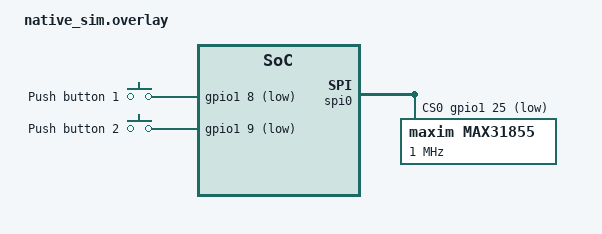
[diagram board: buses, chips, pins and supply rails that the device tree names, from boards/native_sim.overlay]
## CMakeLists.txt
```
# SPDX-License-Identifier: Apache-2.0

cmake_minimum_required(VERSION 3.20.0)
find_package(Zephyr REQUIRED HINTS $ENV{ZEPHYR_BASE})
project(meatometer)

target_include_directories(app PRIVATE ${CMAKE_CURRENT_SOURCE_DIR}/include)

target_sources(app PRIVATE
    src/main.c
    src/app/event_handler.c
    src/app/measure_temp.c
    src/app/state_machine.c
    src/comms/ble_prov.c
    src/comms/wifi_mgr.c
    src/comms/mqtt_mgr.c
    src/hal/hw_init.c
    src/hal/button.c
    src/hal/led.c
    src/hal/sensor.c
)
```

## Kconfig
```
menu "Meatometer application configuration"

config APP_WIFI_SSID
    string "Wi-Fi SSID to connect to"
    default "YourWiFiSSID"

config APP_WIFI_PASSWORD
    string "Wi-Fi password for the specified SSID"
    default "YourWiFiPassword"

config APP_MQTT_BROKER_ADDR
	string "MQTT broker IP address"

config APP_MQTT_USERNAME
	string "MQTT username for authentication at broker"

config APP_MQTT_PASSWORD
	string "MQTT password for authentication at broker"

endmenu

source "Kconfig.zephyr"
```

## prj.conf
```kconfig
CONFIG_SENSOR=y
CONFIG_STDOUT_CONSOLE=y
CONFIG_CBPRINTF_FP_SUPPORT=y

# Logging
CONFIG_LOG=y
CONFIG_SENSOR_LOG_LEVEL_DBG=y

# State Machine Framework
CONFIG_SMF=y
CONFIG_SMF_ANCESTOR_SUPPORT=n

# Enable the Wi-Fi relevant configurations
CONFIG_WIFI=y
CONFIG_WIFI_NM_WPA_SUPPLICANT=y
# Optimize Wi-Fi stack to save memory
CONFIG_NRF70_RX_NUM_BUFS=16
CONFIG_NRF70_MAX_TX_AGGREGATION=4

# Configure the Wi-Fi credentials
CONFIG_WIFI_CREDENTIALS=n

# Enable the Network Management relevant configurations
CONFIG_NET_MGMT=y
CONFIG_NET_MGMT_EVENT=y
CONFIG_NET_MGMT_EVENT_INFO=y

# Enable the Connection Manager and L2 connectivity
CONFIG_NET_CONNECTION_MANAGER=y
CONFIG_NET_CONNECTION_MANAGER_MONITOR_STACK_SIZE=5200
CONFIG_L2_WIFI_CONNECTIVITY=n
# Enable the auto connect feature of the L2 Wi-Fi connectivity
#CONFIG_L2_WIFI_CONNECTIVITY_AUTO_CONNECT=n

# DK library
CONFIG_DK_LIBRARY=y

# System settings
CONFIG_NEWLIB_LIBC=y
CONFIG_NEWLIB_LIBC_NANO=n

# Networking
CONFIG_NETWORKING=y
CONFIG_NET_SOCKETS=y
CONFIG_NET_L2_ETHERNET=y
CONFIG_NET_IPV4=y
CONFIG_NET_IPV6=n
CONFIG_NET_DHCPV4=y
CONFIG_NET_TCP=y
CONFIG_DNS_RESOLVER=y

# Enable support for shell commands
CONFIG_SHELL=y
CONFIG_NET_L2_WIFI_SHELL=y
CONFIG_WIFI_CREDENTIALS_SHELL=y
CONFIG_SHELL_STACK_SIZE=5200

# Memory
CONFIG_SYSTEM_WORKQUEUE_STACK_SIZE=4096
CONFIG_MAIN_STACK_SIZE=5200

# MQTT
CONFIG_MQTT_HELPER=y
CONFIG_MQTT_CLEAN_SESSION=y
```

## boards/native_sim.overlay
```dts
/ {
    aliases {
        led-power = &led_0;
        led-status = &led_1;
        btn-power = &button0;
        btn-start = &button1;
        temp0 = &max31855;
    };

    buttons {
        compatible = "gpio-keys";

        button0: button_0 {
            gpios = <&gpio1 8 (GPIO_PULL_UP | GPIO_ACTIVE_LOW)>;
            label = "Push button 1";
        };

        button1: button_1 {
            gpios = <&gpio1 9 (GPIO_PULL_UP | GPIO_ACTIVE_LOW)>;
            label = "Push button 2";
        };
    };
};

&spi0 {
    compatible = "zephyr,spi-emul-controller";
    status = "okay";
    cs-gpios = <&gpio1 25 GPIO_ACTIVE_LOW>;

    max31855: max31855@0 {
        compatible = "maxim,max31855";
        reg = <0>;
        spi-max-frequency = <1000000>;
    };
};
```

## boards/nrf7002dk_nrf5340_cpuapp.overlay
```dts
/ {
	aliases {
		led-power = &led0;
		led-measuring = &led1;
		btn-power = &button0;
		btn-measure = &button1;
		temp0 = &max31855;
	};
};

&spi1 {
	compatible = "nordic,nrf-spim";
	status = "okay";
	pinctrl-0 = <&spi1_default>;
	pinctrl-1 = <&spi1_sleep>;
	pinctrl-names = "default", "sleep";
	cs-gpios = <&gpio0 25 GPIO_ACTIVE_LOW>;

	max31855: max31855@0 {
		compatible = "maxim,max31855";
		reg = <0>;
		spi-max-frequency = <1000000>;
	};
};

&pinctrl {
	spi1_default: spi1_default {
		group1 {
			psels = <NRF_PSEL(SPIM_SCK, 0, 6)>,
			        <NRF_PSEL(SPIM_MOSI, 0, 7)>,
			        <NRF_PSEL(SPIM_MISO, 0, 26)>;
		};
	};

	spi1_sleep: spi1_sleep {
		group1 {
			psels = <NRF_PSEL(SPIM_SCK, 0, 6)>,
			        <NRF_PSEL(SPIM_MOSI, 0, 7)>,
			        <NRF_PSEL(SPIM_MISO, 0, 26)>;
			low-power-enable;
		};
	};
};
```

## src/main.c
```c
/*
 * Copyright (c) 2026 Maik Lorenz <maik.lorenz@pm.me>
 *
 * SPDX-License-Identifier: Apache-2.0
 */

#include <zephyr/kernel.h>
#include <zephyr/logging/log.h>
#include <zephyr/app_version.h>
#include "app_events.h"
#include "app_config.h"
#include "hal/hw_init.h"
#include "fsm/session_fsm.h"
#include "app/event_handler.h"
#include "app/measure_temp.h"
#include "comms/wifi_mgr.h"
#include "comms/mqtt_mgr.h"
#include "comms/ble_prov.h"

LOG_MODULE_REGISTER(main);

/* size of stack area used by each thread */
#define TH_STACKSIZE 1024
/* scheduling priority used by AppState thread */
#define TH_APPSTATE_PRIORITY 1
/* scheduling priority used by MeasureTemp thread */
#define TH_TEMP_PRIORITY 7

/* Queue for app events */
K_MSGQ_DEFINE(app_event_queue, sizeof(app_event_t), APP_EVENT_QUEUE_DEPTH, 4);

int main(void)
{
	LOG_INF("Meatometer - v%s - arch: %s", APP_VERSION_STRING, CONFIG_ARCH);

	// Get all interfaces
	const hal_iface_t *hal = hal_get_iface();
	const network_iface_t *wifi = wifi_get_iface(&app_event_queue);
	const mqtt_iface_t *mqtt = mqtt_get_iface(&app_event_queue);
	const ble_prov_iface_t *ble_prov = ble_prov_get_iface(&app_event_queue);

	// Initialize subsystems
	hal->init();
	wifi->init();
	mqtt->init();
	ble_prov->init();

	// Initialize event handler
	event_handler_init(hal, &app_event_queue);
	// Initialize temperature measurement thread
	measure_temp_init(hal, &app_event_queue);

	// Initialize state machine with HAL and network interface
	sm_init(hal, mqtt);

	ble_prov->start();

	return 0;
}
```

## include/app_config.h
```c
#pragma once

#define APP_TARGET_TEMP_DEFAULT_C   65.0f
#define APP_MEASURE_INTERVAL_MS     500
#define APP_EVENT_QUEUE_DEPTH       16

#define MQTT_TOPIC_TEMP             "sensors/temperature/77"
#define MQTT_TOPIC_DONE             "temperature/alert"
#define MQTT_CLIENT_ID              "meatometer-01"
```

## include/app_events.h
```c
#pragma once

#include <stdint.h>

typedef enum
{
    /* Measure button was pressed */
    EVT_BTN_MEASURE = 0,
    /* Reconnect WiFi button was pressed */
    EVT_BTN_RECONNECT_WIFI,
    /* New temperature measurement available */
    EVT_TEMP_UPDATE,
    /* Target temperature reached */
    EVT_TEMP_REACHED,
    /* WiFi connected */
    EVT_WIFI_CONNECTED,
    /* WiFi disconnected */
    EVT_WIFI_DISCONNECTED,
    /* Attempt to connect to WiFi AP failed */
    EVT_WIFI_CONNECT_FAILED,
    /* MQTT is ready (successfully connected to broker) */
    EVT_MQTT_READY,
} app_event_type_t;

typedef struct
{
    app_event_type_t type;
    union
    {
        float temperature;
        int error_code;
    } data;
} app_event_t;
```

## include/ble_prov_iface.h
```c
/**
 * @file ble_prov_iface.h
 * @brief BLE provisioning interface
 *
 * Abstract interface for BLE-based WiFi provisioning. Production code uses
 * the NCS wifi_provisioning library; tests inject mocks.
 */

#pragma once

/** Callback invoked when BLE provisioning completes successfully. */
typedef void (*ble_prov_done_cb_t)(void);

/** Abstract BLE provisioning interface. */
typedef struct
{
	int (*init)(void);
	int (*start)(void);
	int (*stop)(void);
} ble_prov_iface_t;
```

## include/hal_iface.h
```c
#pragma once

#include <stdint.h>
#include <stdbool.h>

typedef enum
{
    /* Measurement is in progress */
    LED_MEASURING = 0,
    /* Status LED - On: WiFi connected, Blinking: Target temperature reached */
    LED_STATUS,
    LED_COUNT,
} led_id_t;

/* ── Buttons ─────────────────────────────────────────────────────────── */

typedef enum
{
    /* Start/Stop measurement */
    BTN_MEASURE = 0,
    /* Reconnect Wi-Fi (start BLE advertising) */
    BTN_RECONNECT_WIFI,
    BTN_COUNT,
} btn_id_t;

/** Is called by HAL if a button was pressed. */
typedef void (*btn_callback_t)(btn_id_t btn);

/**
 * Abstract hardware interface.
 * In production code filled with real drivers, in tests with hal_mock.c
 */
typedef struct
{
    /** Initializes the hardware interface.
     * @return 0 on success, negative error code on failure
     */
    int (*init)(void);

    /** Reads temperaturein °C.
     * @param out_celsius Pointer to store the read temperature value
     * @return 0 on success, negative error code on failure
     */
    int (*read_temp)(float *out_celsius);

    /** Sets the state of a LED.
     * @param id LED identifier
     * @param on true to turn on, false to turn off
     */
    void (*led_set)(led_id_t id, bool on);
    /** Toggles the state of a LED.
     * @param id LED identifier
     */
    void (*led_toggle)(led_id_t id);
    /** Blinks a LED.
     * @param id LED identifier
     * @param period_ms Blink period in milliseconds
     */
    void (*led_blink)(led_id_t id, uint32_t period_ms);
    /** Turns off all LEDs. */
    void (*led_all_off)(void);

    /* Registers callback for all button events */
    void (*btn_register_callback)(btn_callback_t cb);
} hal_iface_t;
```

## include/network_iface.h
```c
#pragma once

#include <stdint.h>
#include <stdbool.h>

/**
 * Abstract network interface.
 * In production code filled with real drivers, in tests with hal_net.c
 */
typedef struct
{
    /** Connects to the configured WiFi network.
     * @return 0 on success, negative error code on failure
     */
    int (*wifi_connect)(void);
    /** Disconnects from the WiFi network.
     * @return 0 on success, negative error code on failure
     */
    int (*wifi_disconnect)(void);

    /** Connects to the MQTT broker.
     * @return 0 on success, negative error code on failure
     */
    int (*mqtt_connect)(void);
    /** Disconnects from the MQTT broker.
     * @return 0 on success, negative error code on failure
     */
    int (*mqtt_disconnect)(void);
    /** Publishes a temperature value to the MQTT broker.
     * @param temp_celsius Temperature value in °C to publish
     * @return 0 on success, negative error code on failure
     */
    int (*mqtt_publish_temperature)(float temp_celsius);
} network_iface_t;
```
